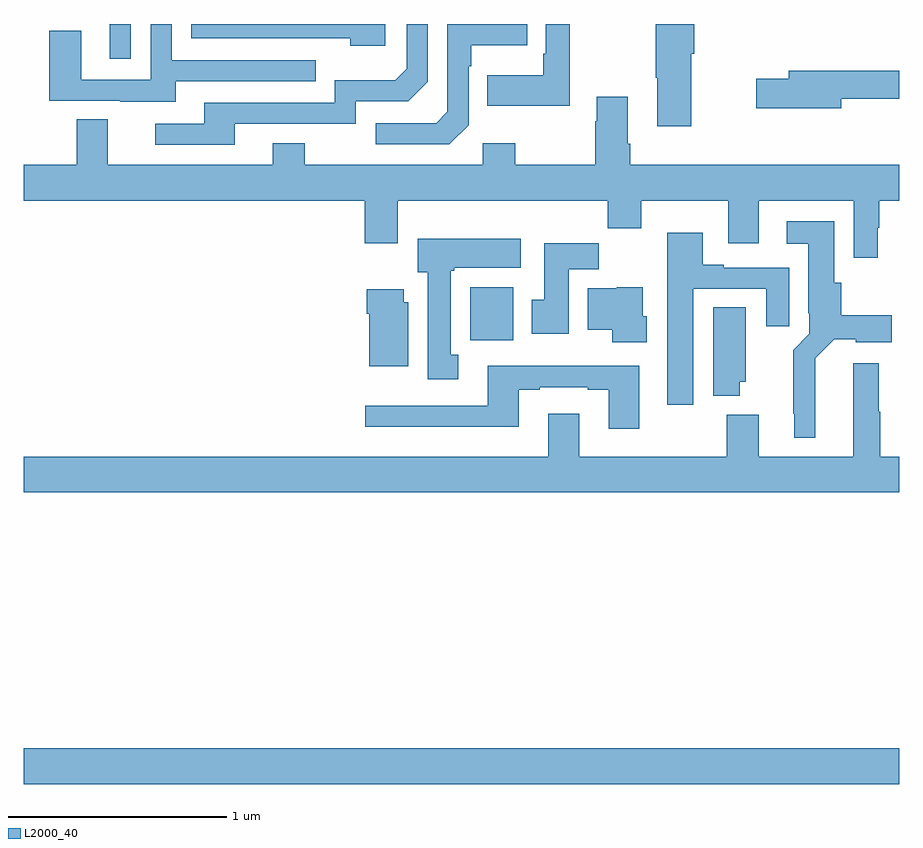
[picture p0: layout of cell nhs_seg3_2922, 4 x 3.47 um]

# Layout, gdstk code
import gdstk
lib = gdstk.Library(unit=1e-6, precision=1e-09)
def R(c, l, rs):  # rectangles x0, y0, x1, y1
    for r in rs: c.add(gdstk.rectangle(r[:2], r[2:], *l))
def P(c, l, *ps):  # polygons
    for p in ps: c.add(gdstk.Polygon(p, *l))
L2000_40 = (2000, 40)

nhs_seg3_2922 = lib.new_cell('nhs_seg3_2922')
R(nhs_seg3_2922, L2000_40, [(263,688.928,267,689.092), (265.04,690.956,265.237,691.198)])
P(nhs_seg3_2922, L2000_40, [(266.05,692.265),(266.063,692.265),(266.063,692.4),(265.888,692.4),(265.888,692.155),(265.895,692.155),(265.895,691.932),(266.05,691.932)],
  [(263.695,692.139),(264.335,692.139),(264.335,692.235),(263.676,692.235),(263.676,692.4),(263.58,692.4),(263.58,692.145),(263.262,692.145),(263.262,692.369),(263.117,692.369),(263.117,692.049),(263.441,692.049),(263.441,692.045),(263.695,692.045)],
  [(265.495,692.4),(265.386,692.4),(265.386,692.263),(265.374,692.263),(265.374,692.167),(265.117,692.167),(265.117,692.027),(265.495,692.027)],
  [(263.965,691.944),(264.516,691.944),(264.516,692.046),(264.756,692.046),(264.846,692.136),(264.846,692.4),(264.75,692.4),(264.75,692.196),(264.697,692.143),(264.42,692.143),(264.42,692.04),(263.825,692.04),(263.825,691.944),(263.601,691.944),(263.601,691.848),(263.965,691.848)],
  [(263.49,692.4),(263.39,692.4),(263.393,692.397),(263.393,692.241),(263.49,692.241)],
  [(264.652,692.4),(263.766,692.4),(263.766,692.334),(264.491,692.334),(264.491,692.3),(264.652,692.3)],
  [(265.032,691.938),(265.032,692.207),(265.045,692.207),(265.045,692.303),(265.301,692.303),(265.301,692.4),(264.936,692.4),(264.936,691.998),(264.885,691.947),(264.609,691.947),(264.609,691.851),(264.945,691.851)],
  [(266.734,692.058),(267,692.058),(267,692.186),(266.495,692.186),(266.495,692.15),(266.346,692.15),(266.346,692.015),(266.734,692.015)],
  [(264.557,691.398),(264.709,691.398),(264.709,691.592),(265.669,691.592),(265.669,691.468),(265.821,691.468),(265.821,691.592),(266.219,691.592),(266.219,691.398),(266.359,691.398),(266.359,691.592),(266.793,691.592),(266.793,691.332),(266.902,691.332),(266.902,691.47),(266.909,691.47),(266.909,691.592),(267,691.592),(267,691.756),(265.772,691.756),(265.772,691.852),(265.759,691.852),(265.759,692.068),(265.619,692.068),(265.619,691.955),(265.612,691.955),(265.612,691.756),(265.245,691.756),(265.245,691.855),(265.098,691.855),(265.098,691.756),(264.285,691.756),(264.285,691.855),(264.137,691.855),(264.137,691.756),(263.383,691.756),(263.383,691.964),(263.243,691.964),(263.243,691.756),(263,691.756),(263,691.592),(264.557,691.592)],
  [(266.617,690.872),(266.703,690.959),(266.802,690.959),(266.802,690.947),(266.965,690.947),(266.965,691.069),(266.735,691.069),(266.735,691.218),(266.704,691.218),(266.704,691.498),(266.487,691.498),(266.487,691.397),(266.585,691.397),(266.585,691.078),(266.589,691.078),(266.589,690.984),(266.515,690.91),(266.515,690.619),(266.519,690.619),(266.519,690.509),(266.617,690.509)],
  [(266.059,691.191),(266.393,691.191),(266.393,691.02),(266.497,691.02),(266.497,691.287),(266.197,691.287),(266.197,691.3),(266.101,691.3),(266.101,691.447),(265.94,691.447),(265.94,690.66),(266.059,690.66)],
  [(264.985,690.89),(264.952,690.89),(264.952,691.273),(264.966,691.273),(264.966,691.286),(265.27,691.286),(265.27,691.42),(264.8,691.42),(264.8,691.266),(264.845,691.266),(264.845,690.777),(264.985,690.777)],
  [(265.489,691.28),(265.628,691.28),(265.628,691.399),(265.379,691.399),(265.379,691.14),(265.322,691.14),(265.322,690.984),(265.489,690.984)],
  [(265.846,691.065),(265.828,691.065),(265.828,691.198),(265.71,691.198),(265.71,691.192),(265.577,691.192),(265.577,691.004),(265.688,691.004),(265.688,690.947),(265.846,690.947)],
  [(264.757,691.128),(264.736,691.128),(264.736,691.189),(264.566,691.189),(264.566,691.076),(264.578,691.076),(264.578,690.836),(264.757,690.836)],
  [(266.272,690.765),(266.299,690.765),(266.299,691.106),(266.15,691.106),(266.15,690.701),(266.272,690.701)],
  [(267,690.424),(266.912,690.424),(266.912,690.629),(266.907,690.629),(266.907,690.85),(266.789,690.85),(266.789,690.424),(266.359,690.424),(266.359,690.616),(266.212,690.616),(266.212,690.424),(265.537,690.424),(265.537,690.619),(265.397,690.619),(265.397,690.424),(263,690.424),(263,690.26),(267,690.26)],
  [(265.813,690.838),(265.121,690.838),(265.121,690.657),(264.561,690.657),(264.561,690.56),(265.261,690.56),(265.261,690.729),(265.357,690.729),(265.357,690.741),(265.577,690.741),(265.577,690.729),(265.673,690.729),(265.673,690.552),(265.813,690.552)])

lib.write_gds('nhs_seg3_2922.gds')
